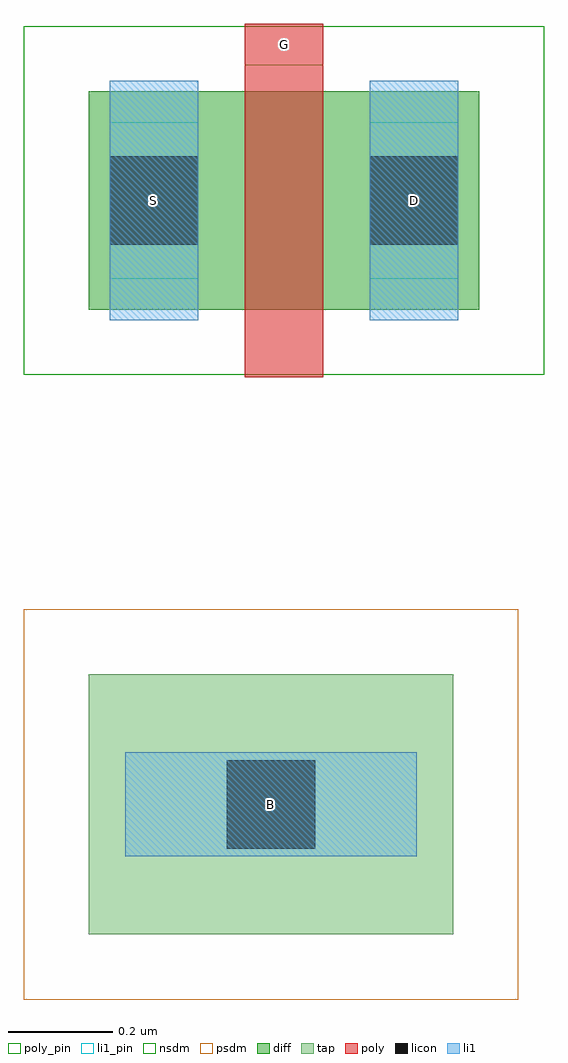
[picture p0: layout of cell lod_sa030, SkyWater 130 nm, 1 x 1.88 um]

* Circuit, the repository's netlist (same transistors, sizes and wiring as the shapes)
* NGSPICE file created from lod_sa030.ext - technology: sky130A

.subckt lod_sa030 S D G B
X0 D G S B sky130_fd_pr__nfet_01v8 ad=0.126 pd=1.44 as=0.126 ps=1.44 w=0.42 l=0.15
.ends

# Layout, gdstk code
import gdstk
lib = gdstk.Library(unit=1e-6, precision=1e-09)
def R(c, l, rs):  # rectangles x0, y0, x1, y1
    for r in rs: c.add(gdstk.rectangle(r[:2], r[2:], *l))
diff = (65, 20)
tap = (65, 44)
poly_pin = (66, 16)
poly = (66, 20)
licon = (66, 44)
li1_pin = (67, 16)
li1 = (67, 20)
nsdm = (93, 44)
psdm = (94, 20)

lod_sa030 = lib.new_cell('lod_sa030')
R(lod_sa030, diff, [(0,0,0.75,0.42)])
R(lod_sa030, tap, [(0,-1.2,0.7,-0.7)])
R(lod_sa030, poly_pin, [(0.3,0.47,0.45,0.55)])
R(lod_sa030, poly, [(0.3,-0.13,0.45,0.55)])
R(lod_sa030, licon, [(0.265,-1.035,0.435,-0.865), (0.04,0.125,0.21,0.295), (0.54,0.125,0.71,0.295)])
R(lod_sa030, li1_pin, [(0.07,-1.05,0.63,-0.85), (0.04,0.06,0.21,0.36), (0.54,0.06,0.71,0.36)])
R(lod_sa030, li1, [(0.07,-1.05,0.63,-0.85), (0.04,-0.02,0.21,0.44), (0.54,-0.02,0.71,0.44)])
R(lod_sa030, nsdm, [(-0.125,-0.125,0.875,0.545)])
R(lod_sa030, psdm, [(-0.125,-1.325,0.825,-0.575)])
lod_sa030.add(gdstk.Label('S', (0.125,0.21), layer=67, texttype=5))
lod_sa030.add(gdstk.Label('D', (0.625,0.21), layer=67, texttype=5))
lod_sa030.add(gdstk.Label('G', (0.375,0.51), layer=66, texttype=5))
lod_sa030.add(gdstk.Label('B', (0.35,-0.95), layer=67, texttype=5))

lib.write_gds('lod_sa030.gds')
